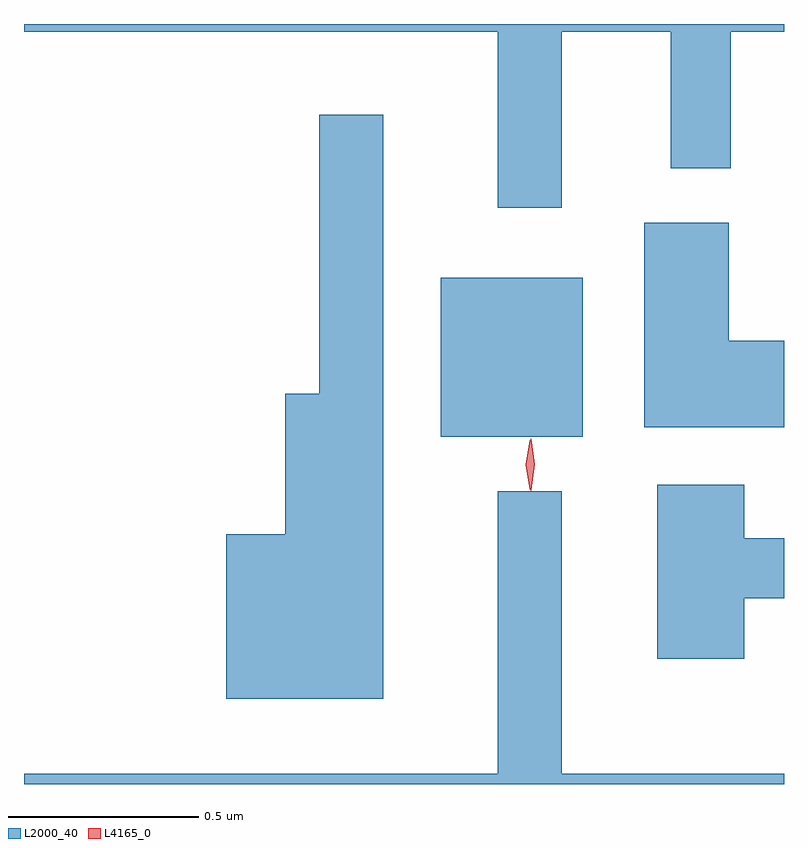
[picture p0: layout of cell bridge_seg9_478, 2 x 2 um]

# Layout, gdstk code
import gdstk
lib = gdstk.Library(unit=1e-6, precision=1e-09)
def R(c, l, rs):  # rectangles x0, y0, x1, y1
    for r in rs: c.add(gdstk.rectangle(r[:2], r[2:], *l))
def P(c, l, *ps):  # polygons
    for p in ps: c.add(gdstk.Polygon(p, *l))
L2000_40 = (2000, 40)
L4165_0 = (4165, 0)

bridge_seg9_478 = lib.new_cell('bridge_seg9_478')
R(bridge_seg9_478, L2000_40, [(409.371,1977.431,409.744,1977.849)])
P(bridge_seg9_478, L2000_40, [(409.689,1978.496),(409.976,1978.496),(409.976,1978.138),(410.134,1978.138),(410.134,1978.496),(410.274,1978.496),(410.274,1978.517),(408.274,1978.517),(408.274,1978.496),(409.521,1978.496),(409.521,1978.033),(409.689,1978.033)],
  [(409.219,1978.278),(409.051,1978.278),(409.051,1977.544),(408.961,1977.544),(408.961,1977.174),(408.806,1977.174),(408.806,1976.741),(409.219,1976.741)],
  [(410.274,1977.684),(410.129,1977.684),(410.129,1977.994),(409.906,1977.994),(409.906,1977.456),(410.274,1977.456)],
  [(410.169,1977.006),(410.274,1977.006),(410.274,1977.164),(410.169,1977.164),(410.169,1977.304),(409.941,1977.304),(409.941,1976.846),(410.169,1976.846)],
  [(410.274,1976.544),(409.689,1976.544),(409.689,1977.288),(409.521,1977.288),(409.521,1976.544),(408.274,1976.544),(408.274,1976.517),(410.274,1976.517)])
P(bridge_seg9_478, L4165_0, [(409.608,1977.289),(409.608,1977.29),(409.598,1977.358),(409.608,1977.425),(409.608,1977.426),(409.609,1977.425),(409.618,1977.358),(409.609,1977.29)],
  [(409.605,1977.293),(409.605,1977.293),(409.595,1977.357),(409.605,1977.422),(409.605,1977.422),(409.606,1977.422),(409.615,1977.357),(409.606,1977.293)])

lib.write_gds('bridge_seg9_478.gds')
